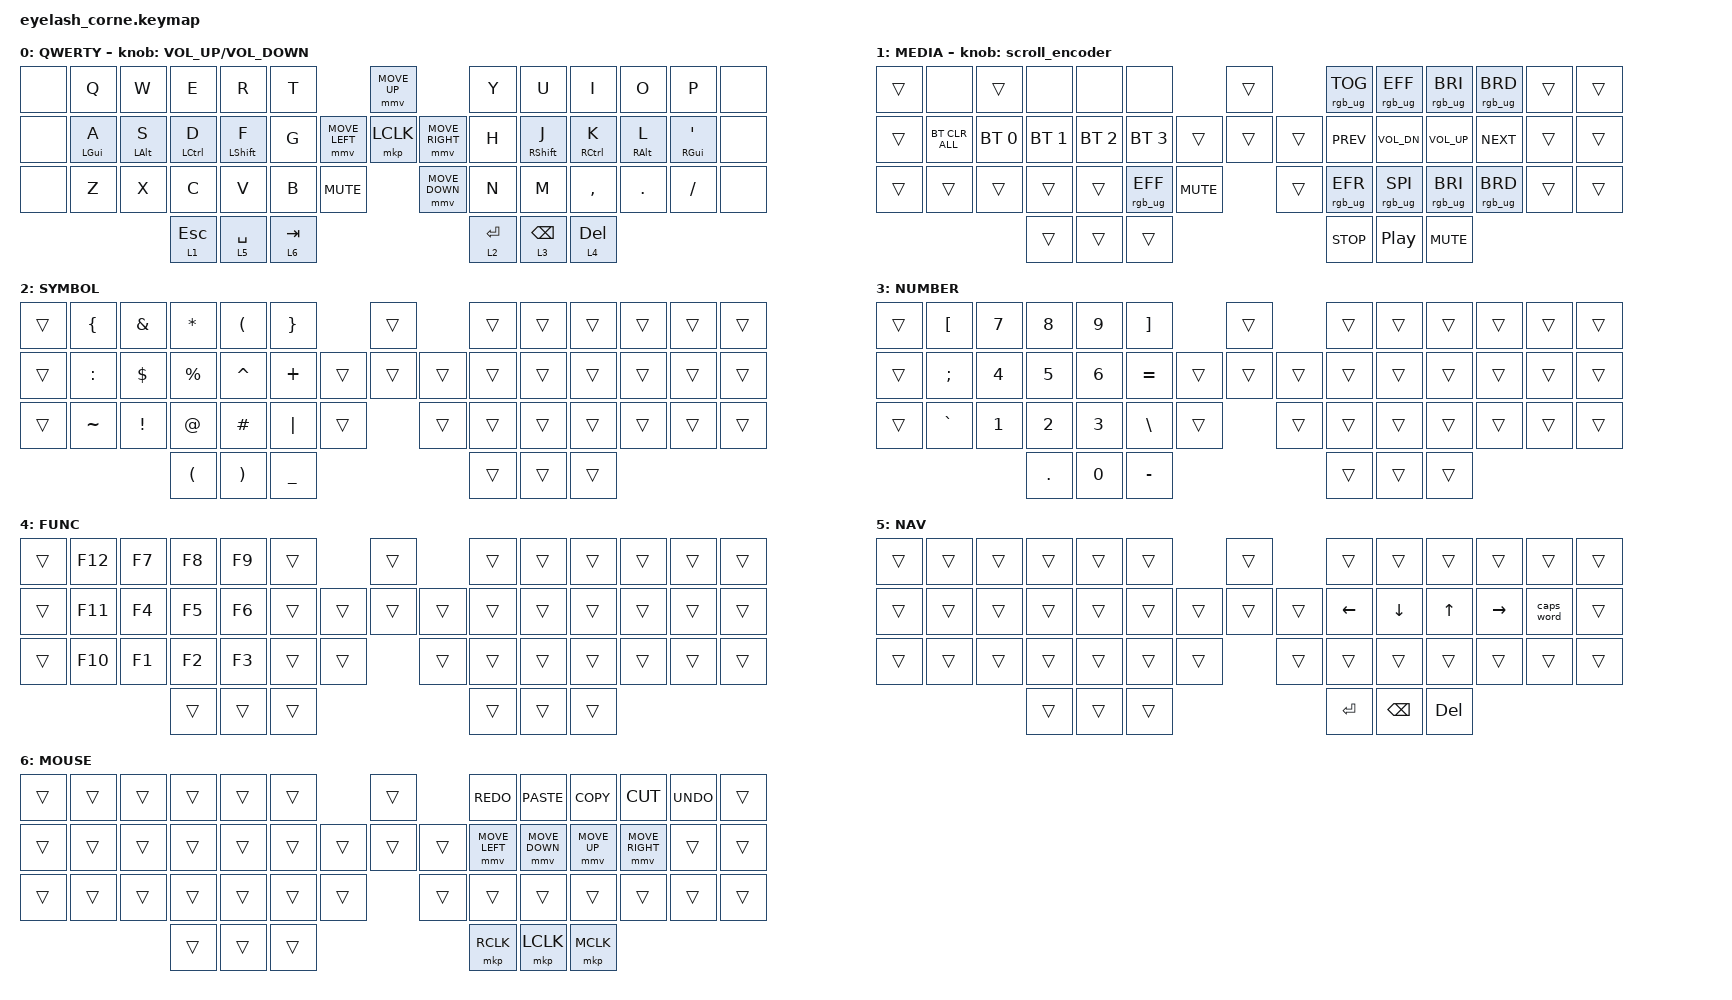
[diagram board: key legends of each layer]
#include <dt-bindings/zmk/mouse.h>
#include <input/processors.dtsi>
#include <behaviors.dtsi>
#include <dt-bindings/zmk/bt.h>
#include <dt-bindings/zmk/keys.h>
#include <dt-bindings/zmk/pointing.h>
#include <dt-bindings/zmk/rgb.h>

/*

   &mmv_input_listener {
       input-processors = <&zip_xy_scaler 2 1>;
   };

   &msc_input_listener {
       input-processors = <&zip_xy_scaler 2 1>;
   };

 */

#define ZMK_MOUSE_DEFAULT_MOVE_VAL 1200  // 600
#define ZMK_MOUSE_DEFAULT_SCRL_VAL 20    // 10

&mt {
    tapping-term-ms = <200>;
    flavor = "tap-preferred";
};

/ {
    behaviors {
        td0: td0 {
            compatible = "zmk,behavior-tap-dance";
            display-name = "Shift/Caps Lock Tap Dance";
            #binding-cells = <0>;
            bindings = <&kp LEFT_SHIFT>, <&kp CAPS>;
        };
    };

    rgb_encoder: rgb_encoder {
        compatible = "zmk,behavior-sensor-rotate";
        #sensor-binding-cells = <0>;
        bindings = <&rgb_ug RGB_BRI>, <&rgb_ug RGB_BRD>;
    };

    scroll_encoder: scroll_encoder {
        compatible = "zmk,behavior-sensor-rotate";
        #sensor-binding-cells = <0>;
        bindings = <&msc SCRL_DOWN>, <&msc SCRL_UP>;

        tap-ms = <30>;
    };

    keymap {
        compatible = "zmk,keymap";

        default_layer {
            display-name = "QWERTY";
            bindings = <
&none  &kp Q       &kp W       &kp E        &kp R         &kp T                                    &mmv MOVE_UP                     &kp Y        &kp U            &kp I         &kp O       &kp P         &none
&none  &mt LGUI A  &mt LALT S  &mt LCTRL D  &mt LSHIFT F  &kp G                    &mmv MOVE_LEFT  &mkp LCLK       &mmv MOVE_RIGHT  &kp H        &mt RSHIFT J     &mt RCTRL K   &mt RALT L  &mt RGUI SQT  &none
&none  &kp Z       &kp X       &kp C        &kp V         &kp B      &kp K_MUTE                    &mmv MOVE_DOWN                   &kp N        &kp M            &kp COMMA     &kp DOT     &kp FSLH      &none
                               &lt 1 ESC    &lt 5 SPACE   &lt 6 TAB                                                                 &lt 2 ENTER  &lt 3 BACKSPACE  &lt 4 DELETE
            >;

            sensor-bindings = <&inc_dec_kp C_VOLUME_UP C_VOLUME_DOWN>;
        };

        media_layer {
            display-name = "MEDIA";
            bindings = <
&trans  &none           &trans        &none         &none         &none                                  &trans          &rgb_ug RGB_TOG  &rgb_ug RGB_EFF   &rgb_ug RGB_BRI  &rgb_ug RGB_BRD  &trans  &trans
&trans  &bt BT_CLR_ALL  &bt BT_SEL 0  &bt BT_SEL 1  &bt BT_SEL 2  &bt BT_SEL 3                   &trans  &trans  &trans  &kp C_PREV       &kp C_VOL_DN      &kp C_VOL_UP     &kp C_NEXT       &trans  &trans
&trans  &trans          &trans        &trans        &trans        &rgb_ug RGB_EFF  &kp C_MUTE            &trans          &rgb_ug RGB_EFR  &rgb_ug RGB_SPI   &rgb_ug RGB_BRI  &rgb_ug RGB_BRD  &trans  &trans
                                      &trans        &trans        &trans                                                 &kp C_STOP       &kp C_PLAY_PAUSE  &kp C_MUTE
            >;

            sensor-bindings = <&scroll_encoder>;
        };

        symbol_layer {
            display-name = "SYMBOL";
            bindings = <
&trans  &kp LBRC   &kp AMPS  &kp ASTRK  &kp LPAR   &kp RBRC                     &trans          &trans  &trans  &trans  &trans  &trans  &trans
&trans  &kp COLON  &kp DLLR  &kp PRCNT  &kp CARET  &kp PLUS             &trans  &trans  &trans  &trans  &trans  &trans  &trans  &trans  &trans
&trans  &kp TILDE  &kp EXCL  &kp AT     &kp HASH   &kp PIPE   &trans            &trans          &trans  &trans  &trans  &trans  &trans  &trans
                             &kp LPAR   &kp RPAR   &kp UNDER                                    &trans  &trans  &trans
            >;
        };

        number_layer {
            display-name = "NUMBER";
            bindings = <
&trans  &kp LBKT   &kp N7  &kp N8   &kp N9  &kp RBKT                     &trans          &trans  &trans  &trans  &trans  &trans  &trans
&trans  &kp SEMI   &kp N4  &kp N5   &kp N6  &kp EQUAL            &trans  &trans  &trans  &trans  &trans  &trans  &trans  &trans  &trans
&trans  &kp GRAVE  &kp N1  &kp N2   &kp N3  &kp BSLH   &trans            &trans          &trans  &trans  &trans  &trans  &trans  &trans
                           &kp DOT  &kp N0  &kp MINUS                                    &trans  &trans  &trans
            >;
        };

        function_layer {
            display-name = "FUNC";
            bindings = <
&trans  &kp F12  &kp F7  &kp F8  &kp F9  &trans                    &trans          &trans  &trans  &trans  &trans  &trans  &trans
&trans  &kp F11  &kp F4  &kp F5  &kp F6  &trans            &trans  &trans  &trans  &trans  &trans  &trans  &trans  &trans  &trans
&trans  &kp F10  &kp F1  &kp F2  &kp F3  &trans  &trans            &trans          &trans  &trans  &trans  &trans  &trans  &trans
                         &trans  &trans  &trans                                    &trans  &trans  &trans
            >;
        };

        nav_layer {
            display-name = "NAV";
            bindings = <
&trans  &trans  &trans  &trans  &trans  &trans                    &trans          &trans     &trans         &trans      &trans     &trans      &trans
&trans  &trans  &trans  &trans  &trans  &trans            &trans  &trans  &trans  &kp LEFT   &kp DOWN       &kp UP      &kp RIGHT  &caps_word  &trans
&trans  &trans  &trans  &trans  &trans  &trans  &trans            &trans          &trans     &trans         &trans      &trans     &trans      &trans
                        &trans  &trans  &trans                                    &kp ENTER  &kp BACKSPACE  &kp DELETE
            >;
        };

        mouse_layer {
            display-name = "MOUSE";
            bindings = <
&trans  &trans  &trans  &trans  &trans  &trans                    &trans          &kp K_REDO      &kp K_PASTE     &kp K_COPY    &kp K_CUT        &kp K_UNDO  &trans
&trans  &trans  &trans  &trans  &trans  &trans            &trans  &trans  &trans  &mmv MOVE_LEFT  &mmv MOVE_DOWN  &mmv MOVE_UP  &mmv MOVE_RIGHT  &trans      &trans
&trans  &trans  &trans  &trans  &trans  &trans  &trans            &trans          &trans          &trans          &trans        &trans           &trans      &trans
                        &trans  &trans  &trans                                    &mkp RCLK       &mkp LCLK       &mkp MCLK
            >;
        };
    };
};
